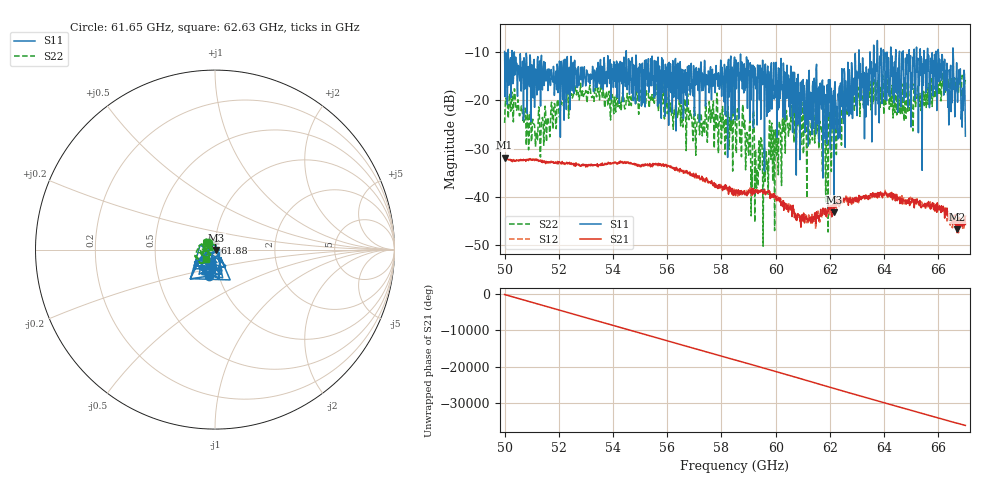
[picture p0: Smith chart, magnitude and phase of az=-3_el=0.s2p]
!Created with skrf (http://scikit-rf.org).
# GHz S RI R 50.0
!freq ReS11 ImS11 ReS21 ImS21 ReS12 ImS12 ReS22 ImS22
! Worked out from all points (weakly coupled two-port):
!   1001 points, 50 GHz to 67 GHz, reference 50 ohm
!   highest |S21| = -31.92 dB at 50 GHz (marker M1); lowest = -46.8 dB at 66.69 GHz (marker M2)
!   lowest |S11| = -43.2 dB at 62.16 GHz (marker M3), VSWR 1.01, Z = 50.7 - j0.203 ohm
!   |S11| at or under -10 dB: 50.36 GHz to 54.49 GHz (4.13 GHz wide, 7.88 % of centre); 54.49 GHz to 63.07 GHz (8.582 GHz wide, 14.6 % of centre); 66 GHz to 66.54 GHz (534.2 MHz wide, 0.806 % of centre) (the widest 3 of 24)
!   |S22| runs from -50.2 to -13.9 dB; largest |S21 - S12| = 0.0021
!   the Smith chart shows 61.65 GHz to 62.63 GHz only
!   S11 on the Smith chart (normalised r, x): 61.65 GHz: 0.90, -0.27; 61.88 GHz: 0.99, +0.07; 62.63 GHz: 0.94, -0.21
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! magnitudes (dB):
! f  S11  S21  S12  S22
! 50 GHz  -9.9  -31.9  -31.9  -24.7
! 50.42 GHz  -13.5  -32.4  -32.5  -21.9
! 51.38 GHz  -16.6  -32.4  -32.4  -24.2
! 52.84 GHz  -14.1  -33.4  -33.5  -19.3
! 55.68 GHz  -13.3  -33.0  -33.1  -22.2
! 57 GHz  -23.2  -35.6  -35.4  -21.4
! 57.62 GHz  -15.8  -37.2  -37.0  -22.3
! 58.5 GHz  -24.1  -39.4  -39.1  -24.0
! 59.61 GHz  -12.8  -39.3  -39.3  -36.8
! 59.84 GHz  -12.2  -40.0  -39.6  -25.3
! 60.03 GHz  -14.8  -40.8  -39.9  -31.4
! 60.34 GHz  -14.1  -41.4  -41.5  -25.7
! 61.34 GHz  -27.1  -44.5  -43.6  -25.4
! 61.65 GHz  -16.4  -43.6  -44.7  -25.0
! 61.88 GHz  -29.1  -43.3  -44.2  -23.4
! 62.16 GHz  -43.2  -42.4  -42.3  -28.9
! 62.63 GHz  -18.9  -40.5  -40.7  -22.7
! 64.18 GHz  -18.7  -39.4  -39.8  -18.5
! 65.1 GHz  -9.8  -40.8  -41.1  -18.4
! 66.08 GHz  -15.1  -42.0  -42.2  -15.7
! 66.69 GHz  -16.0  -46.8  -47.4  -15.6
! 67 GHz  -27.4  -45.7  -43.8  -15.8
